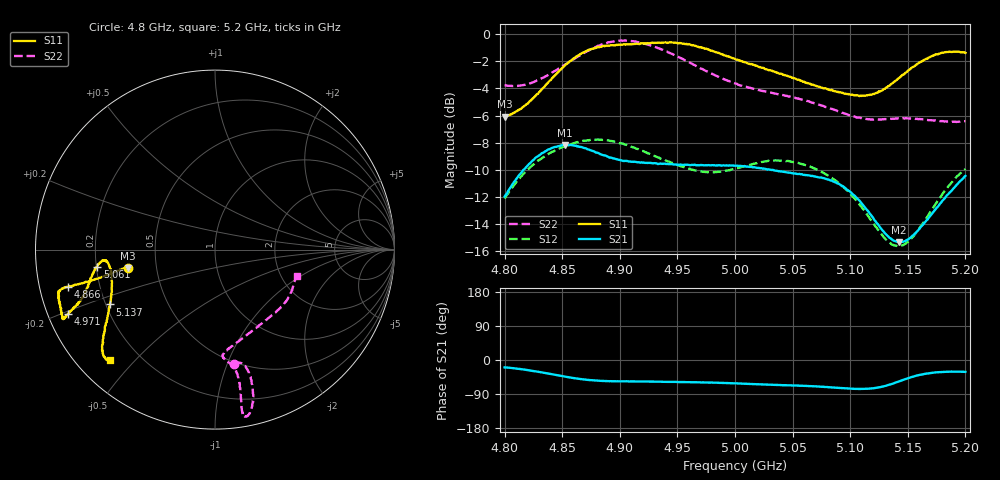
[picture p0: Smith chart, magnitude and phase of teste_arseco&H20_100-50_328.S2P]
! Network Analyzer HP8722D
! Hewlett-Packard
! Data name: Linha & Wilkinson
! Saver's name: Rodrigo Anjos
! Comments: Teste da utilização de aquisição
! continua pelo VNA HP8722D
! Time and date: 6/5/2025 15:18
!  Frequency  S11  S21  S12  S22
# HZ  S  MA R 50
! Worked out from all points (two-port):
!   401 points, 4.8 GHz to 5.2 GHz, reference 50 ohm
!   highest |S21| = -8.16 dB at 4.852 GHz (marker M1); lowest = -15.3 dB at 5.142 GHz (marker M2)
!   |S21| within 3 dB of the highest: 4.806 GHz to 5.093 GHz (286.5 MHz wide, 5.79 % of centre); 5.191755 GHz to end of sweep
!   lowest |S11| = -6.1 dB at 4.8 GHz (marker M3), VSWR 2.97, Z = 17 - j4.59 ohm
!   |S11| at or under -10 dB: nowhere
!   |S22| runs from -6.5 to -0.5 dB; largest |S21 - S12| = 0.62
!   S11 on the Smith chart (normalised r, x): 4.8 GHz: 0.34, -0.09; 4.866 GHz: 0.09, -0.12; 4.971 GHz: 0.06, -0.21; 5.061 GHz: 0.20, -0.07; 5.137 GHz: 0.22, -0.23; 5.2 GHz: 0.09, -0.43
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4.8e9  0.4967 -168.2  0.2522 -19.6  0.2483 -140.7  0.6482 -80.4
4.823e9  0.5701 -167.5  0.338 -28.2  0.325 -143.8  0.66 -76.0
4.852e9  0.7631 -165.8  0.3906 -43.6  0.3863 -149.3  0.7687 -74.6
4.866e9  0.8448 -165.8  0.3841 -50.1  0.4023 -151.7  0.8372 -75.2
4.867e9  0.8496 -165.8  0.3837 -50.7  0.4029 -151.9  0.8419 -75.3
4.883e9  0.8969 -165.0  0.3614 -55.0  0.4081 -154.7  0.9094 -77.1
4.899e9  0.9132 -162.8  0.3447 -56.4  0.3981 -156.6  0.9442 -79.0
4.934e9  0.9289 -156.4  0.3328 -57.3  0.3512 -155.6  0.8841 -80.4
4.971e9  0.8916 -156.4  0.3293 -59.2  0.3122 -146.5  0.7451 -79.6
5e9  0.809 -158.9  0.3275 -61.7  0.3199 -137.2  0.6574 -81.2
5.037e9  0.7194 -165.8  0.3131 -65.9  0.3423 -134.3  0.6007 -85.7
5.061e9  0.6621 -171.8  0.3029 -68.3  0.3294 -136.2  0.5697 -83.9
5.067e9  0.6513 -172.9  0.3007 -69.2  0.3233 -136.7  0.5586 -82.6
5.084e9  0.6231 -174.5  0.2893 -72.3  0.2956 -138.2  0.5301 -76.2
5.103e9  0.5959 -171.4  0.2555 -76.0  0.2505 -138.7  0.4978 -65.2
5.119e9  0.5992 -163.6  0.213 -74.8  0.2036 -134.0  0.485 -53.6
5.134e9  0.6447 -154.1  0.1781 -65.2  0.1708 -120.7  0.4865 -43.3
5.137e9  0.6603 -152.5  0.1744 -62.4  0.1677 -116.8  0.4884 -41.4
5.142e9  0.6855 -149.9  0.1713 -56.7  0.166 -110.4  0.4897 -38.6
5.154e9  0.7549 -144.4  0.1811 -44.5  0.1788 -95.0  0.4884 -32.3
5.172e9  0.833 -139.0  0.2206 -33.5  0.2295 -81.1  0.4805 -24.5
5.2e9  0.852 -133.5  0.3005 -31.3  0.3191 -76.9  0.4779 -17.6
